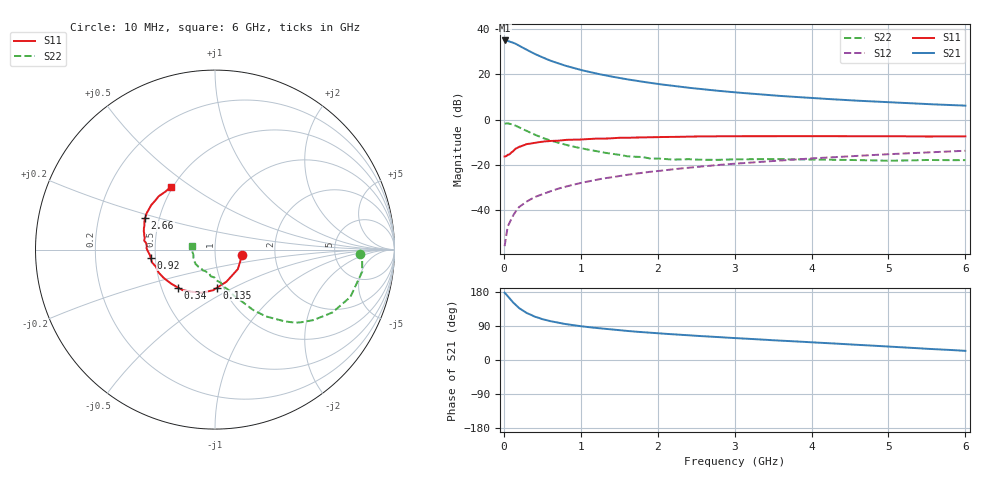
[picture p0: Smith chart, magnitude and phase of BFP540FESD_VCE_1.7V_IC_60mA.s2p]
! Infineon Technologies  Discrete & RF Semiconductors
! BFP540FESD
! VCE =  1.7 V,  IC =  60 mA
! Common Emitter S-Parameters:  Nov 2015
# GHz  S  MA  R  50
!  f  S11  S21  S12  S22
! GHz  MAG  ANG  MAG  ANG  MAG  ANG  MAG  ANG
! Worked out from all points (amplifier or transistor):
!   210 points, 10 MHz to 6 GHz, reference 50 ohm
!   highest |S21| = 35.0 dB at 10 MHz (marker M1)
!   |S21| within 3 dB of that: start of sweep to 235.9 MHz
!   unconditionally stable (mu >= 1): start of sweep to 33.72 MHz; 960.3 MHz to end of sweep
!   at 185 MHz: K = 0.58, MSG = 36.1 dB, |S12| = -39.2 dB
!   at 1.52 GHz: K = 1.07, MAG = 19.9 dB, |S12| = -24.8 dB
!   at 6 GHz: K = 1.20, MAG = 7.3 dB, |S12| = -13.7 dB
!   S11 on the Smith chart (normalised r, x): 10 MHz: 1.35, -0.08; 135 MHz: 0.93, -0.42; 340 MHz: 0.61, -0.28; 920 MHz: 0.47, -0.05; 2.66 GHz: 0.42, +0.18; 6 GHz: 0.49, +0.42
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0.01  0.1533 -11.3  56.35 177.6  0.0016 121.8  0.8082 -1.9
0.02  0.1542 -21.8  54.44 175.7  0.002 120.4  0.8198 -1.4
0.05  0.1674 -40.6  55.01 168.3  0.0042 85.1  0.8295 -8.5
0.1  0.1898 -70.3  51.87 156.1  0.0065 81.3  0.7991 -19.3
0.135  0.2126 -86.9  48.95 149.0  0.0083 77.5  0.7569 -25.4
0.15  0.2269 -92.8  47.95 145.7  0.0091 76.4  0.7417 -28.2
0.2  0.2515 -107.2  43.14 136.8  0.0118 73.8  0.6746 -35.6
0.3  0.2892 -128.6  34.8 123.7  0.0156 72.0  0.558 -45.8
0.34  0.2952 -134.2  32.17 120.5  0.0171 71.8  0.521 -48.3
0.42  0.3121 -143.9  27.5 113.3  0.02 71.3  0.4535 -53.6
0.5  0.3269 -151.3  23.84 107.8  0.0226 70.4  0.398 -57.7
0.6  0.3391 -157.9  20.29 102.7  0.0259 71.0  0.3477 -60.9
0.7  0.3424 -163.6  17.7 98.5  0.0296 69.9  0.3118 -63.9
0.92  0.3614 -172.9  13.65 91.4  0.0371 70.4  0.2502 -70.1
1.02  0.3662 -176.0  12.33 88.7  0.0407 70.0  0.2305 -72.7
1.5  0.3976 172.9  8.346 78.6  0.0569 67.9  0.1682 -88.4
2.02  0.4136 163.1  6.102 70.2  0.0738 64.7  0.1382 -107.7
2.66  0.428 155.8  4.566 61.9  0.0953 60.8  0.1297 -128.8
3.1  0.4312 151.3  3.9 56.8  0.1094 57.9  0.1331 -136.5
4.1  0.4323 143.9  2.941 45.6  0.1423 51.0  0.131 -152.6
5.1  0.4304 135.5  2.385 34.3  0.1757 42.7  0.1243 -168.8
6  0.4277 125.1  2.044 24.2  0.2056 34.9  0.1275 171.4
